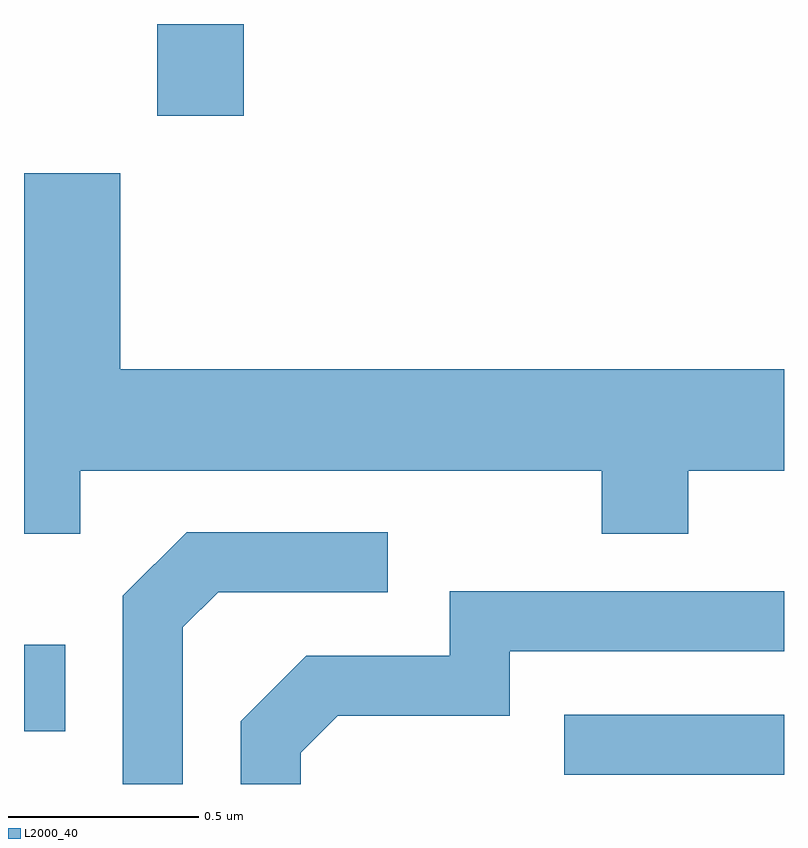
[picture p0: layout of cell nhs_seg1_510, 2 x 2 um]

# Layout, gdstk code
import gdstk
lib = gdstk.Library(unit=1e-6, precision=1e-09)
def R(c, l, rs):  # rectangles x0, y0, x1, y1
    for r in rs: c.add(gdstk.rectangle(r[:2], r[2:], *l))
def P(c, l, *ps):  # polygons
    for p in ps: c.add(gdstk.Polygon(p, *l))
L2000_40 = (2000, 40)

nhs_seg1_510 = lib.new_cell('nhs_seg1_510')
R(nhs_seg1_510, L2000_40, [(190.033,938.736,190.611,938.894), (188.611,938.851,188.719,939.079), (188.961,940.471,189.189,940.712)])
P(nhs_seg1_510, L2000_40, [(188.759,939.536),(190.131,939.536),(190.131,939.371),(190.359,939.371),(190.359,939.536),(190.611,939.536),(190.611,939.804),(188.864,939.804),(188.864,940.319),(188.611,940.319),(188.611,939.371),(188.759,939.371)],
  [(189.029,939.124),(189.122,939.216),(189.568,939.216),(189.568,939.374),(189.039,939.374),(188.871,939.207),(188.871,938.712),(189.029,938.712)],
  [(189.339,938.794),(189.437,938.891),(189.889,938.891),(189.889,939.061),(190.611,939.061),(190.611,939.219),(189.731,939.219),(189.731,939.049),(189.354,939.049),(189.181,938.877),(189.181,938.712),(189.339,938.712)])

lib.write_gds('nhs_seg1_510.gds')
